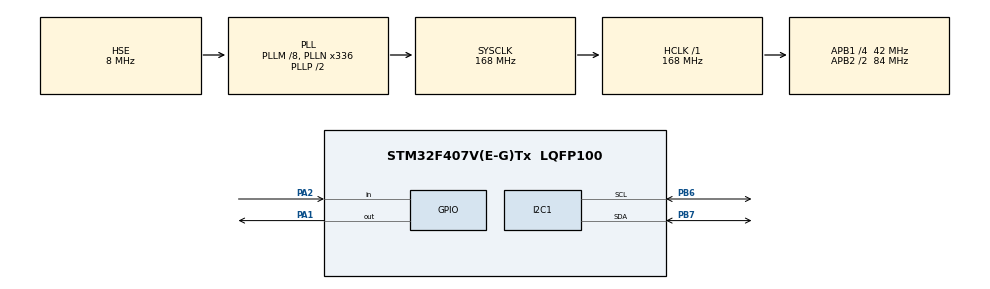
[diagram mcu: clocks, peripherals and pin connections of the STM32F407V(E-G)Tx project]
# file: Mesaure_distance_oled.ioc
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I2C1.I2C_Mode=I2C_Fast
Mcu.Family=STM32F4
Mcu.Name=STM32F407V(E-G)Tx
Mcu.Package=LQFP100
NVIC.PriorityGroup=NVIC_PRIORITYGROUP_0
PA1.Signal=GPIO_Output
PA13.Mode=Serial_Wire
PA13.Signal=SYS_JTMS-SWDIO
PA14.Mode=Serial_Wire
PA14.Signal=SYS_JTCK-SWCLK
PA2.Signal=GPIO_Input
PB6.Mode=I2C
PB6.Signal=I2C1_SCL
PB7.Mode=I2C
PB7.Signal=I2C1_SDA
PH0-OSC_IN.Mode=HSE-External-Oscillator
PH0-OSC_IN.Signal=RCC_OSC_IN
PH1-OSC_OUT.Mode=HSE-External-Oscillator
PH1-OSC_OUT.Signal=RCC_OSC_OUT
ProjectManager.HeapSize=0x200
ProjectManager.StackSize=0x400
ProjectManager.TargetToolchain=STM32CubeIDE
RCC.48MHZClocksFreq_Value=48000000
RCC.AHBFreq_Value=168000000
RCC.APB1CLKDivider=RCC_HCLK_DIV4
RCC.APB1Freq_Value=42000000
RCC.APB1TimFreq_Value=84000000
RCC.APB2CLKDivider=RCC_HCLK_DIV2
RCC.APB2Freq_Value=84000000
RCC.APB2TimFreq_Value=168000000
RCC.CortexFreq_Value=168000000
RCC.HCLKFreq_Value=168000000
RCC.HSE_VALUE=8000000
RCC.HSI_VALUE=16000000
RCC.PLLM=8
RCC.PLLN=336
RCC.PLLQ=7
RCC.PLLSourceVirtual=RCC_PLLSOURCE_HSE
RCC.SYSCLKFreq_VALUE=168000000
RCC.SYSCLKSource=RCC_SYSCLKSOURCE_PLLCLK
RCC.VCOOutputFreq_Value=336000000
board=STM32F407G-DISC1

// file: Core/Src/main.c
/* USER CODE BEGIN Header */
/**
  ******************************************************************************
  * @file           : main.c
  * @brief          : Main program body
  ******************************************************************************
  * @attention
  *
  * Copyright (c) 2024 STMicroelectronics.
  * All rights reserved.
  *
  * This software is licensed under terms that can be found in the LICENSE file
  * in the root directory of this software component.
  * If no LICENSE file comes with this software, it is provided AS-IS.
  *
  ******************************************************************************
  */
/* USER CODE END Header */
#include "main.h"

/* USER CODE BEGIN Includes */
#include "dwt_stm32_delay.h"
#include "ssd1306.h"
#include "fonts.h"
#include "test.h"
#include "stdio.h"
/* USER CODE END Includes */

/* USER CODE BEGIN PTD */
static char buf[50] = {0};
/* USER CODE END PTD */

I2C_HandleTypeDef hi2c1;

void SystemClock_Config(void);
static void MX_GPIO_Init(void);
static void MX_I2C1_Init(void);

/* USER CODE BEGIN 0 */
uint32_t sensor_time;
uint16_t distance;

uint32_t Read_HCSR04()
{
	uint32_t local_time = 0;

	HAL_GPIO_WritePin(GPIOA, GPIO_PIN_1, GPIO_PIN_SET);		// pull the trig pin high
	DWT_Delay_us(10);										// wait for 10 us
	HAL_GPIO_WritePin(GPIOA, GPIO_PIN_1, GPIO_PIN_RESET);	// pull the trig pin low

	// wait for the echo pin to go high

	while(!(HAL_GPIO_ReadPin(GPIOA, GPIO_PIN_2)));

	while(HAL_GPIO_ReadPin(GPIOA, GPIO_PIN_2))				// while the pin is high
	{
		local_time++;										// increment local time
		DWT_Delay_us(1);									// every 1 us
	}

	return local_time * 2;
}

/* USER CODE END 0 */

int main(void)
{

  /* MCU Configuration--------------------------------------------------------*/

  /* Reset of all peripherals, Initializes the Flash interface and the Systick. */
  HAL_Init();

  /* Configure the system clock */
  SystemClock_Config();

  /* Initialize all configured peripherals */
  MX_GPIO_Init();
  MX_I2C1_Init();
  /* USER CODE BEGIN 2 */
  DWT_Delay_Init();
  SSD1306_Init (); // initialize the display
  /* USER CODE END 2 */

  /* Infinite loop */
  while (1)
  {

    /* USER CODE BEGIN 3 */

	  sensor_time = Read_HCSR04();			// get the high time
	 	  distance = sensor_time * .034 / 2;	// user the formula to get the distance

	 	   SSD1306_GotoXY (0, 0);
	 	    SSD1306_Puts ("Distance:", &Font_11x18, 1);
	 	    sprintf(buf,"%d    ", distance);
	 	    SSD1306_GotoXY (0, 30);
	 	    SSD1306_Puts (buf, &Font_16x26, 1);
	 	    SSD1306_UpdateScreen();
	 	    HAL_Delay(50);
  }
  /* USER CODE END 3 */
}

void SystemClock_Config(void)
{
  RCC_OscInitTypeDef RCC_OscInitStruct = {0};
  RCC_ClkInitTypeDef RCC_ClkInitStruct = {0};

  /** Configure the main internal regulator output voltage
  */
  __HAL_RCC_PWR_CLK_ENABLE();
  __HAL_PWR_VOLTAGESCALING_CONFIG(PWR_REGULATOR_VOLTAGE_SCALE1);

  /** Initializes the RCC Oscillators according to the specified parameters
  * in the RCC_OscInitTypeDef structure.
  */
  RCC_OscInitStruct.OscillatorType = RCC_OSCILLATORTYPE_HSE;
  RCC_OscInitStruct.HSEState = RCC_HSE_ON;
  RCC_OscInitStruct.PLL.PLLState = RCC_PLL_ON;
  RCC_OscInitStruct.PLL.PLLSource = RCC_PLLSOURCE_HSE;
  RCC_OscInitStruct.PLL.PLLM = 8;
  RCC_OscInitStruct.PLL.PLLN = 336;
  RCC_OscInitStruct.PLL.PLLP = RCC_PLLP_DIV2;
  RCC_OscInitStruct.PLL.PLLQ = 7;
  if (HAL_RCC_OscConfig(&RCC_OscInitStruct) != HAL_OK)
  {
    Error_Handler();
  }

  /** Initializes the CPU, AHB and APB buses clocks
  */
  RCC_ClkInitStruct.ClockType = RCC_CLOCKTYPE_HCLK|RCC_CLOCKTYPE_SYSCLK
                              |RCC_CLOCKTYPE_PCLK1|RCC_CLOCKTYPE_PCLK2;
  RCC_ClkInitStruct.SYSCLKSource = RCC_SYSCLKSOURCE_PLLCLK;
  RCC_ClkInitStruct.AHBCLKDivider = RCC_SYSCLK_DIV1;
  RCC_ClkInitStruct.APB1CLKDivider = RCC_HCLK_DIV4;
  RCC_ClkInitStruct.APB2CLKDivider = RCC_HCLK_DIV2;

  if (HAL_RCC_ClockConfig(&RCC_ClkInitStruct, FLASH_LATENCY_5) != HAL_OK)
  {
    Error_Handler();
  }
}

static void MX_I2C1_Init(void)
{

  hi2c1.Instance = I2C1;
  hi2c1.Init.ClockSpeed = 400000;
  hi2c1.Init.DutyCycle = I2C_DUTYCYCLE_2;
  hi2c1.Init.OwnAddress1 = 0;
  hi2c1.Init.AddressingMode = I2C_ADDRESSINGMODE_7BIT;
  hi2c1.Init.DualAddressMode = I2C_DUALADDRESS_DISABLE;
  hi2c1.Init.OwnAddress2 = 0;
  hi2c1.Init.GeneralCallMode = I2C_GENERALCALL_DISABLE;
  hi2c1.Init.NoStretchMode = I2C_NOSTRETCH_DISABLE;
  if (HAL_I2C_Init(&hi2c1) != HAL_OK)
  {
    Error_Handler();
  }

}

static void MX_GPIO_Init(void)
{
  GPIO_InitTypeDef GPIO_InitStruct = {0};

  /* GPIO Ports Clock Enable */
  __HAL_RCC_GPIOH_CLK_ENABLE();
  __HAL_RCC_GPIOA_CLK_ENABLE();
  __HAL_RCC_GPIOB_CLK_ENABLE();

  /*Configure GPIO pin Output Level */
  HAL_GPIO_WritePin(GPIOA, GPIO_PIN_1, GPIO_PIN_RESET);

  /*Configure GPIO pin : PA1 */
  GPIO_InitStruct.Pin = GPIO_PIN_1;
  GPIO_InitStruct.Mode = GPIO_MODE_OUTPUT_PP;
  GPIO_InitStruct.Pull = GPIO_NOPULL;
  GPIO_InitStruct.Speed = GPIO_SPEED_FREQ_LOW;
  HAL_GPIO_Init(GPIOA, &GPIO_InitStruct);

  /*Configure GPIO pin : PA2 */
  GPIO_InitStruct.Pin = GPIO_PIN_2;
  GPIO_InitStruct.Mode = GPIO_MODE_INPUT;
  GPIO_InitStruct.Pull = GPIO_NOPULL;
  HAL_GPIO_Init(GPIOA, &GPIO_InitStruct);

}

void Error_Handler(void)
{
  __disable_irq();
  while (1)
  {
  }
}
